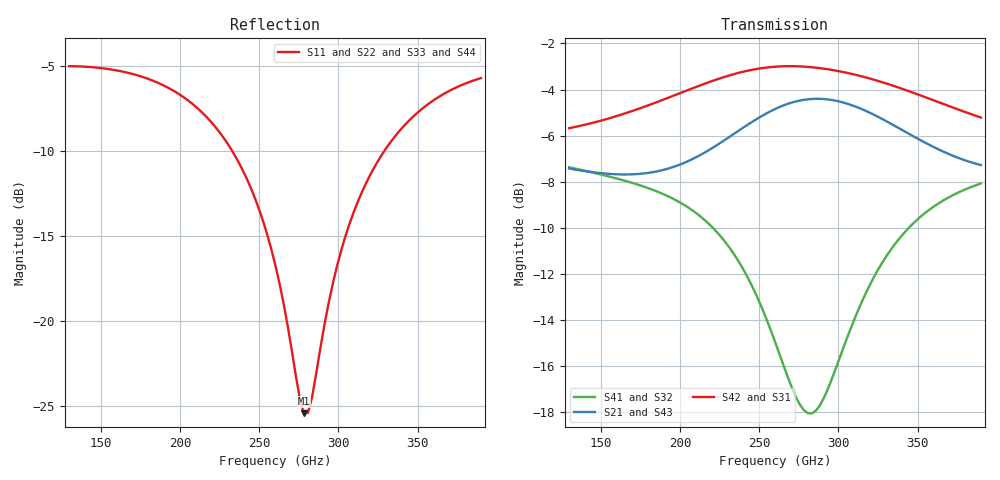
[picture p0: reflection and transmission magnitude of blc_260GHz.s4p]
#  GHZ S DB R 50
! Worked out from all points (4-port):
!   101 points, 130 GHz to 390 GHz, reference 50 ohm
!   strongest paths, dB at 130 GHz, 195 GHz, 260 GHz, 325 GHz, 390 GHz:
!     S42: -5.7, -4.3, -3.0, -3.6, -5.2
!     S31: -5.7, -4.3, -3.0, -3.6, -5.2
!     S21: -7.4, -7.4, -4.8, -5.2, -7.3
!     S43: -7.4, -7.4, -4.9, -5.2, -7.3
!     S41: -7.4, -8.7, -15.0, -11.8, -8.1
!     S32: -7.4, -8.7, -14.9, -11.9, -8.1
!   lowest |S11| = -25.4 dB at 278.2 GHz (marker M1), VSWR 1.11, Z = 55.6 - j0.385 ohm
!   |S11| at or under -10 dB: 232.9 GHz to 329.2 GHz (96.3 GHz wide, 34.3 % of centre)
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130  -5.03 156.8  -7.43 -50.6  -5.68 -78.9  -7.38 -61.5
     -7.43 -50.6  -5.03 156.9  -7.38 -61.5  -5.68 -78.8
     -5.68 -78.9  -7.38 -61.5  -5.03 156.9  -7.43 -50.6
     -7.38 -61.5  -5.68 -78.8  -7.43 -50.6  -5.03 156.8
187.2  -6.05 131.2  -7.53 -62.9  -4.50 -115.1  -8.48 -88.9
       -7.53 -62.9  -6.05 131.3  -8.47 -88.9  -4.50 -115.1
       -4.50 -115.1  -8.47 -88.9  -6.06 131.2  -7.54 -62.9
       -8.48 -88.9  -4.50 -115.1  -7.54 -62.9  -6.05 131.2
228.8  -9.41 103.0  -6.17 -73.3  -3.44 -146.9  -10.65 -112.2
       -6.17 -73.3  -9.41 102.9  -10.64 -112.2  -3.44 -146.9
       -3.44 -146.9  -10.64 -112.2  -9.42 102.9  -6.18 -73.3
       -10.65 -112.2  -3.44 -146.9  -6.18 -73.3  -9.41 102.9
254.8  -14.84 76.6  -5.03 -85.8  -3.05 -169.3  -14.01 -121.9
       -5.03 -85.8  -14.86 76.3  -14.00 -122.0  -3.04 -169.3
       -3.05 -169.3  -14.00 -122.0  -14.86 76.3  -5.04 -85.9
       -14.01 -121.9  -3.04 -169.3  -5.04 -85.9  -14.85 76.3
278.2  -25.44 -3.7  -4.45 -101.1  -3.01 170.0  -17.93 -104.5
       -4.45 -101.1  -25.31 -4.7  -17.95 -104.7  -3.01 170.0
       -3.01 170.0  -17.95 -104.7  -25.29 -4.6  -4.46 -101.1
       -17.93 -104.5  -3.01 170.0  -4.46 -101.1  -25.32 -4.7
319.8  -11.48 -118.9  -5.01 -128.5  -3.52 134.5  -12.50 -75.7
       -5.01 -128.5  -11.44 -118.7  -12.53 -75.6  -3.52 134.5
       -3.52 134.5  -12.53 -75.6  -11.44 -118.6  -5.02 -128.5
       -12.50 -75.7  -3.52 134.5  -5.02 -128.5  -11.44 -118.8
390  -5.73 -162.5  -7.28 -154.3  -5.22 82.8  -8.08 -113.0
     -7.28 -154.3  -5.72 -162.4  -8.09 -112.9  -5.22 82.8
     -5.22 82.8  -8.09 -112.9  -5.72 -162.4  -7.29 -154.3
     -8.08 -113.0  -5.22 82.8  -7.29 -154.3  -5.72 -162.5
